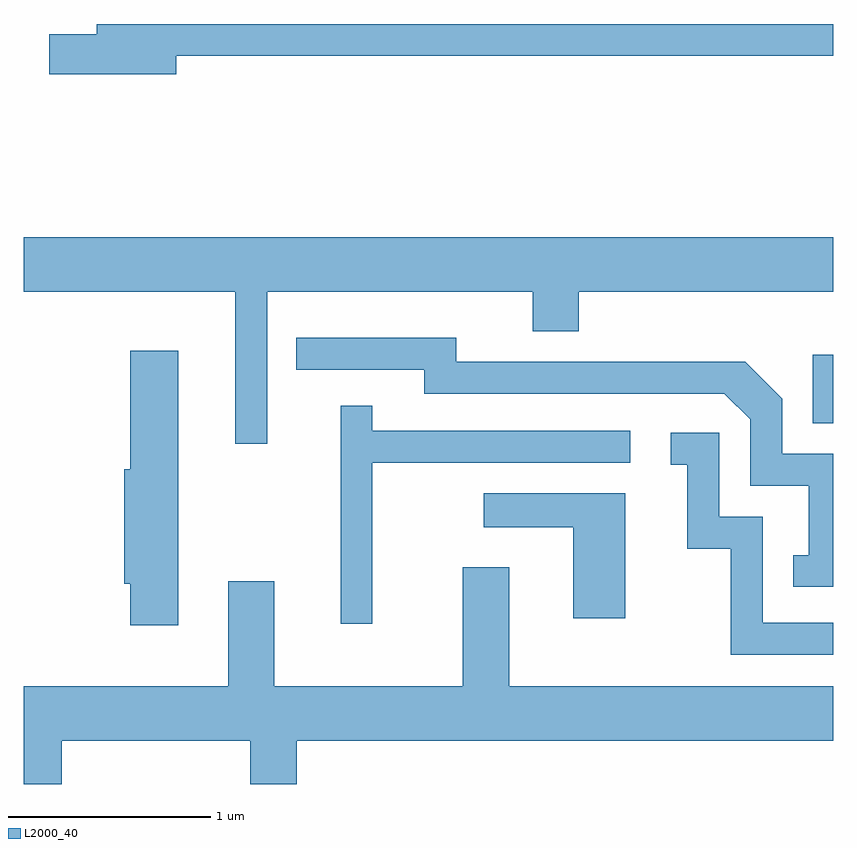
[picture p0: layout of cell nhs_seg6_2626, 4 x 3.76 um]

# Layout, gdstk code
import gdstk
lib = gdstk.Library(unit=1e-6, precision=1e-09)
def R(c, l, rs):  # rectangles x0, y0, x1, y1
    for r in rs: c.add(gdstk.rectangle(r[:2], r[2:], *l))
def P(c, l, *ps):  # polygons
    for p in ps: c.add(gdstk.Polygon(p, *l))
L2000_40 = (2000, 40)

nhs_seg6_2626 = lib.new_cell('nhs_seg6_2626')
R(nhs_seg6_2626, L2000_40, [(267.511,1655.946,267.611,1656.283)])
P(nhs_seg6_2626, L2000_40, [(264.364,1657.761),(267.611,1657.761),(267.611,1657.919),(263.971,1657.919),(263.971,1657.869),(263.736,1657.869),(263.736,1657.671),(264.364,1657.671)],
  [(263.611,1656.596),(264.656,1656.596),(264.656,1655.843),(264.814,1655.843),(264.814,1656.596),(266.126,1656.596),(266.126,1656.401),(266.354,1656.401),(266.354,1656.596),(267.611,1656.596),(267.611,1656.864),(263.611,1656.864)],
  [(267.611,1655.794),(267.359,1655.794),(267.359,1656.067),(267.177,1656.249),(265.749,1656.249),(265.749,1656.369),(264.958,1656.369),(264.958,1656.211),(265.591,1656.211),(265.591,1656.091),(267.074,1656.091),(267.201,1655.964),(267.201,1655.636),(267.491,1655.636),(267.491,1655.294),(267.413,1655.294),(267.413,1655.136),(267.611,1655.136)],
  [(264.374,1656.304),(264.136,1656.304),(264.136,1655.719),(264.106,1655.719),(264.106,1655.151),(264.136,1655.151),(264.136,1654.946),(264.374,1654.946)],
  [(265.334,1655.751),(266.608,1655.751),(266.608,1655.909),(265.334,1655.909),(265.334,1656.033),(265.176,1656.033),(265.176,1654.953),(265.334,1654.953)],
  [(267.611,1654.959),(267.264,1654.959),(267.264,1655.484),(267.049,1655.484),(267.049,1655.899),(266.808,1655.899),(266.808,1655.741),(266.891,1655.741),(266.891,1655.326),(267.106,1655.326),(267.106,1654.801),(267.611,1654.801)],
  [(266.584,1655.599),(265.883,1655.599),(265.883,1655.431),(266.326,1655.431),(266.326,1654.981),(266.584,1654.981)],
  [(263.799,1654.376),(264.731,1654.376),(264.731,1654.162),(264.959,1654.162),(264.959,1654.376),(267.611,1654.376),(267.611,1654.644),(266.009,1654.644),(266.009,1655.234),(265.781,1655.234),(265.781,1654.644),(264.849,1654.644),(264.849,1655.164),(264.621,1655.164),(264.621,1654.644),(263.611,1654.644),(263.611,1654.162),(263.799,1654.162)])

lib.write_gds('nhs_seg6_2626.gds')
